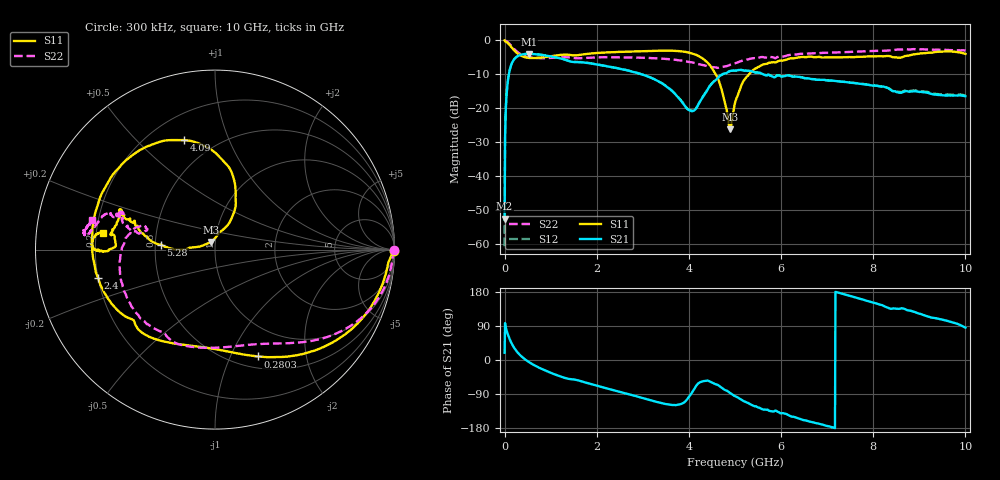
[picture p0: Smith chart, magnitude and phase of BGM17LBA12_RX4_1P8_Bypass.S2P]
!Agilent Technologies,E5071C,MY46316587,B.13.01
!Date: Fri Dec 08 11:07:46 2017
!Data & Calibration Information:
!Freq	S11:SOLT2(ON)	S21:SOLT2(ON)	S12:SOLT2(ON)	S22:SOLT2(ON)
!PortZ  Port1:50+j0  Port2:50+j0
!Above PortZ is port z conversion or system Z0 setting when saving the data.
!When reading, reference impedance value at option line is always used.
# Hz S dB R 50
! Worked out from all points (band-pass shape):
!   1001 points, 300 kHz to 10 GHz, reference 50 ohm
!   highest |S21| = -3.98 dB at 530.3 MHz (marker M1); lowest = -52.4 dB at 300 kHz (marker M2)
!   |S21| within 3 dB of the highest: 150.8 MHz to 1.949 GHz (1.798 GHz wide, 171 % of centre)
!   lowest |S11| = -26.2 dB at 4.89 GHz (marker M3), VSWR 1.10, Z = 47.5 + j4.11 ohm
!   |S11| at or under -10 dB: 4.581 GHz to 5.305 GHz (724.4 MHz wide, 14.7 % of centre)
!   |S22| runs from -8.1 to 0.0 dB; largest |S21 - S12| = 0.006
!   S11 on the Smith chart (normalised r, x): 300 kHz: open; 280.3 MHz: 0.63, -1.27; 2.4 GHz: 0.20, -0.11; 4.09 GHz: 0.34, +0.70; 5.28 GHz: 0.54, +0.03; 10 GHz: 0.23, +0.07
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300000  -0.04 -0.4  -52.42 19.2  -60.52 -18.9  -0.04 -0.2
6.02982e7  -0.70 -21.1  -13.19 71.3  -13.12 71.2  -0.42 -16.1
7.02979e7  -0.83 -24.3  -11.97 67.8  -11.92 67.7  -0.54 -18.5
1.402958e8  -1.90 -43.4  -7.36 46.9  -7.33 46.8  -1.55 -33.0
2.802916e8  -3.87 -68.3  -4.67 20.2  -4.66 20.0  -3.46 -50.9
5.302841e8  -5.18 -92.2  -3.98 -5.7  -3.96 -5.9  -4.97 -70.0
1.030269e9  -4.62 -119.5  -4.79 -35.2  -4.76 -35.3  -5.16 -98.7
1.67025e9  -4.20 -142.0  -6.45 -56.4  -6.40 -56.4  -5.22 -123.8
2.400228e9  -3.48 -166.6  -8.08 -80.6  -8.04 -80.3  -5.00 -143.0
3.3402e9  -3.05 152.0  -12.09 -111.7  -12.09 -111.2  -5.35 -168.7
4.090177e9  -3.95 105.9  -20.77 -81.5  -20.68 -81.2  -6.55 166.3
4.380169e9  -6.25 83.5  -15.08 -54.7  -15.02 -54.4  -7.55 161.2
4.590162e9  -10.20 68.3  -11.60 -64.2  -11.60 -64.0  -7.99 162.8
4.890153e9  -26.16 118.7  -9.03 -86.7  -9.03 -86.6  -7.22 168.1
5.00015e9  -18.42 174.0  -8.93 -95.5  -8.90 -95.3  -6.77 167.1
5.140146e9  -13.18 179.9  -8.73 -105.3  -8.70 -105.1  -6.06 166.1
5.280142e9  -10.41 174.7  -9.01 -113.2  -8.98 -113.2  -5.64 164.3
5.630131e9  -7.04 164.0  -10.15 -131.0  -10.11 -130.8  -4.99 158.5
6.6701e9  -4.82 156.9  -11.42 -163.8  -11.37 -163.7  -3.85 162.1
8.34005e9  -4.61 171.3  -14.20 136.5  -14.13 136.6  -2.98 172.8
8.900033e9  -4.10 -179.0  -14.95 126.4  -14.80 126.6  -2.61 172.5
1e10  -3.99 171.3  -16.45 85.3  -16.25 86.0  -3.03 166.7
